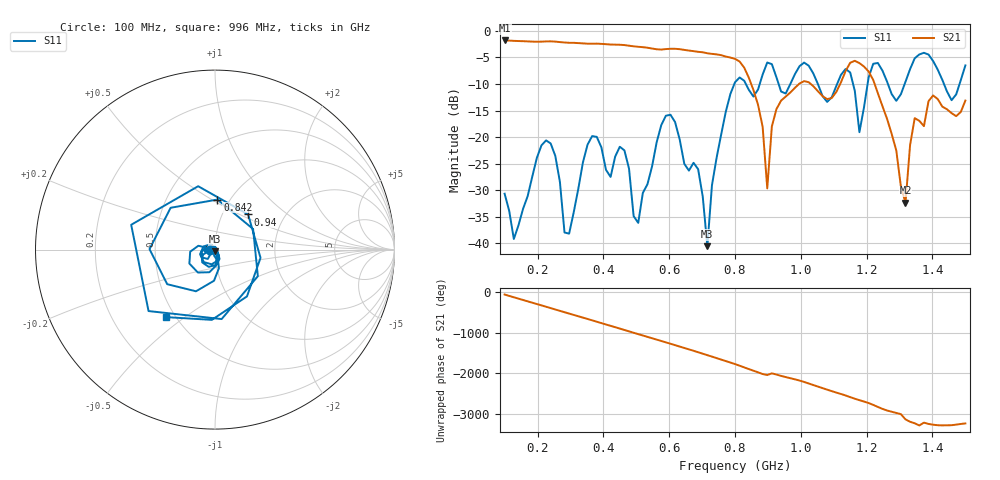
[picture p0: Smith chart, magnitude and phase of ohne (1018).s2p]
! NanoVNA-App
! Date: 2025-09-25 14:28:43
! Start: 100MHz Stop: 1,5GHz Points: 101
! S-Parameter data: F S11 S21 S12 S22
# Hz S RI R 50
!  Frequency  S11_Real  S11_Imag  S21_Real  S21_Imag  S12_Real  S12_Imag  S22_Real  S22_Imag
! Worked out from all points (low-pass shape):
!   101 points, 100 MHz to 1.5 GHz, reference 50 ohm
!   highest |S21| = -1.79 dB at 100 MHz (marker M1); lowest = -32.3 dB at 1.318 GHz (marker M2)
!   |S21| within 3 dB of the highest: start of sweep to 770.5 MHz
!   lowest |S11| = -40.5 dB at 716 MHz (marker M3), VSWR 1.02, Z = 49.8 - j0.928 ohm
!   |S11| at or under -10 dB: start of sweep to 797.9 MHz; 833.1 MHz to 875.1 MHz (42 MHz wide, 4.92 % of centre); 1.052 GHz to 1.11 GHz (58.27 MHz wide, 5.39 % of centre) (the widest 3 of 7)
!   S12 and S22 are empty: the file has one direction only
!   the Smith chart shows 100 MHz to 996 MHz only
!   S11 on the Smith chart (normalised r, x): 100 MHz: 0.94, -0.01; 842 MHz: 0.88, +0.53; 940 MHz: 1.32, +0.56; 996 MHz: 0.44, -0.43
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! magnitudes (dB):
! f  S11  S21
! 100 MHz  -30.6  -1.8
! 128 MHz  -39.2  -1.9
! 226 MHz  -20.6  -2.0
! 296 MHz  -38.1  -2.2
! 338 MHz  -24.7  -2.3
! 464 MHz  -22.5  -2.7
! 506 MHz  -36.1  -3.0
! 576 MHz  -17.7  -3.5
! 688 MHz  -26.0  -3.9
! 716 MHz  -40.5  -4.2
! 800 MHz  -9.7  -5.3
! 842 MHz  -11.1  -8.8
! 898 MHz  -5.9  -29.6
! 940 MHz  -11.4  -13.1
! 996 MHz  -6.6  -9.9
! 1.038 GHz  -8.0  -10.4
! 1.178 GHz  -19.1  -6.1
! 1.22 GHz  -6.2  -9.2
! 1.276 GHz  -11.9  -19.4
! 1.318 GHz  -9.6  -32.3
! 1.346 GHz  -5.2  -16.4
! 1.5 GHz  -6.5  -13.1
